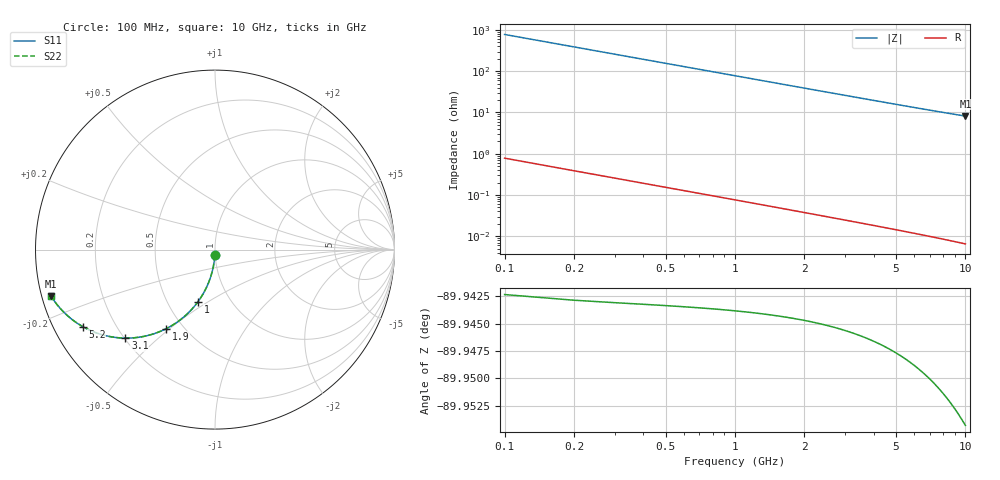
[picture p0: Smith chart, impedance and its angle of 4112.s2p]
# Hz S RI R 50.00
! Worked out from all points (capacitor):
!   100 points, 100 MHz to 10 GHz, reference 50 ohm
!   read as one part in shunt: C = 2.05 pF near 100 MHz
!   lowest |Z| = 8.17 ohm at 10 GHz (marker M1)
!   S11 on the Smith chart (normalised r, x): 100 MHz: 1.00, -0.06; 1 GHz: 0.71, -0.45; 1.9 GHz: 0.40, -0.49; 3.1 GHz: 0.20, -0.40; 5.2 GHz: 0.08, -0.27; 10 GHz: 0.03, -0.14
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1e8  -0.00101 -0.032  0.9989 -0.0324  0.9989 -0.0324  -0.00101 -0.032
2e8  -0.00413 -0.0637  0.9958 -0.0645  0.9958 -0.0645  -0.00413 -0.0637
3e8  -0.00927 -0.095  0.9906 -0.0963  0.9906 -0.0963  -0.00927 -0.095
4e8  -0.0164 -0.1258  0.9835 -0.1274  0.9835 -0.1274  -0.0164 -0.1258
5e8  -0.0253 -0.1558  0.9745 -0.1578  0.9745 -0.1578  -0.0253 -0.1558
6e8  -0.0361 -0.1849  0.9638 -0.1873  0.9638 -0.1873  -0.0361 -0.1849
7e8  -0.0484 -0.2129  0.9514 -0.2158  0.9514 -0.2158  -0.0484 -0.2129
8e8  -0.0623 -0.2398  0.9375 -0.243  0.9375 -0.243  -0.0623 -0.2398
1e9  -0.0941 -0.2895  0.9058 -0.2935  0.9058 -0.2935  -0.0941 -0.2895
1.2e9  -0.13 -0.3335  0.8699 -0.3383  0.8699 -0.3383  -0.13 -0.3335
1.4e9  -0.169 -0.3715  0.8309 -0.3771  0.8309 -0.3771  -0.169 -0.3715
1.8e9  -0.2515 -0.4298  0.7483 -0.4371  0.7483 -0.4371  -0.2515 -0.4298
1.9e9  -0.2724 -0.4409  0.7274 -0.4486  0.7274 -0.4486  -0.2724 -0.4409
2.5e9  -0.3933 -0.4829  0.6066 -0.4931  0.6066 -0.4931  -0.3933 -0.4829
3.1e9  -0.4992 -0.4932  0.5006 -0.5058  0.5006 -0.5058  -0.4992 -0.4932
3.4e9  -0.5454 -0.4905  0.4544 -0.5044  0.4544 -0.5044  -0.5454 -0.4905
4.2e9  -0.6469 -0.4687  0.3528 -0.486  0.3528 -0.486  -0.6469 -0.4687
5.1e9  -0.7302 -0.4327  0.2694 -0.4538  0.2694 -0.4538  -0.7302 -0.4327
5.2e9  -0.7378 -0.4284  0.2618 -0.4499  0.2618 -0.4499  -0.7378 -0.4284
6.7e9  -0.8244 -0.3658  0.1751 -0.3938  0.1751 -0.3938  -0.8244 -0.3658
8.4e9  -0.8813 -0.3047  0.1179 -0.3401  0.1179 -0.3401  -0.8813 -0.3047
1e10  -0.9138 -0.2579  0.0851 -0.3006  0.0851 -0.3006  -0.9138 -0.2579
